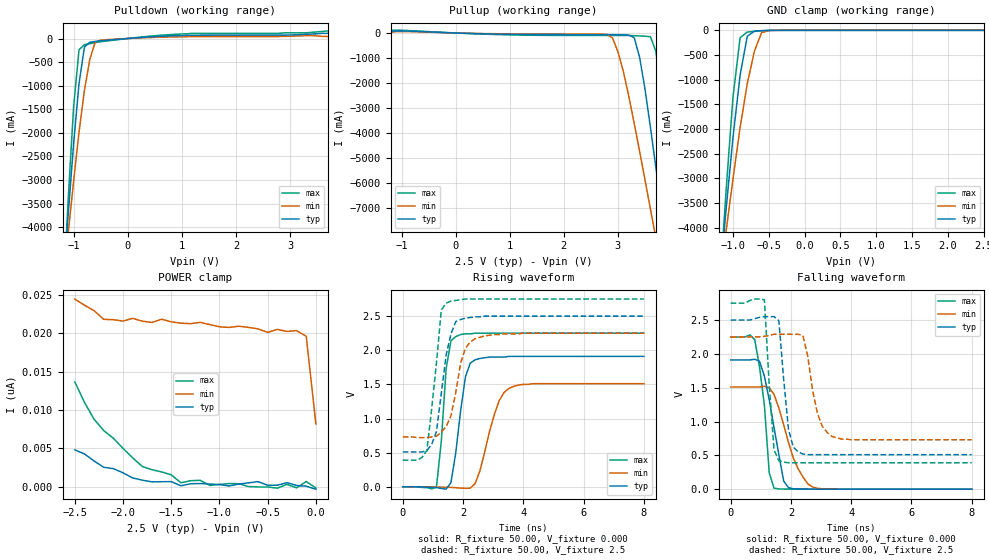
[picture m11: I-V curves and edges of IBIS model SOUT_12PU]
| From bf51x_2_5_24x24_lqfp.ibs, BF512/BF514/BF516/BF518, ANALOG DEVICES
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[Model]   SOUT_12PU
Model_type   I/O
Polarity   Non-Inverting
Enable   Active-Low
Vinl =  0.70V
Vinh =   1.70V
Vmeas =   1.20V
Cref =  50.00pF
Rref =   1.00M
Vref =  0.000V
C_comp   6.07pF   6.03pF   6.09pF
[Temperature Range]   25.00   0.12k   -40.00
[Voltage Range]   2.5V   2.25V   2.75V
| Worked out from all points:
|   slope of the pulldown table from 0 to 0.375 V, typ, clamps not added: 12.1 ohm
|   slope of the pullup table from 0 to 0.375 V, typ, clamps not added: 14.4 ohm
|   GND clamp passes 1 mA (typ) near -0.47 V on its own axis
|   rising waveform, R_fixture 50.00, V_fixture 0.000: 20-80 % time 337ps typ, 557ps min, 239ps max; typ from 0 V to 1.91 V
|   rising waveform, R_fixture 50.00, V_fixture 2.5: 20-80 % time 381ps typ, 425ps min, 328ps max; typ from 0.51 V to 2.5 V
|   falling waveform, R_fixture 50.00, V_fixture 0.000: 20-80 % time 468ps typ, 644ps min, 286ps max; typ from 1.91 V to 0 V
|   falling waveform, R_fixture 50.00, V_fixture 2.5: 20-80 % time 243ps typ, 388ps min, 207ps max; typ from 2.5 V to 0.51 V
[Pulldown]
| voltage   I(typ)   I(min)   I(max)
-2.5V     -27.05A    -20.61A    -35.82A
-1.2V     -5.33A     -5.27A     -5.6A
-1.1V     -3.74A     -4.13A     -3.42A
-1V       -2.23A     -3.03A     -1.45A
-900mV    -960mA     -1.99A     -240mA
-800mV    -180mA     -1.1A      -130mA
-700mV    -78.96mA   -440mA     -110mA
-600mV    -62.11mA   -77.61mA   -85.59mA
-400mV    -38.78mA   -24.85mA   -54.18mA
1.2V      68.26mA    38.77mA    110mA
4V        78.89mA    42.48mA    180mA
5V        81.93mA    46.21mA    130mA
[Pullup]
| voltage   I(typ)   I(min)   I(max)
-2.5V     2.08mA     1.17mA     3.31mA
2.8V      -66.22mA   -56.14mA   -100mA
3V        -67.81mA   -760mA     -100mA
3.3V      -190mA     -3.61A     -110mA
3.4V      -970mA     -4.73A     -120mA
3.6V      -3.77A     -7.04A     -150mA
3.7V      -5.37A     -8.2A      -720mA
3.8V      -7A        -9.38A     -2.41A
3.9V      -8.65A     -10.56A    -4.53A
4V        -10.31A    -11.74A    -6.77A
4.1V      -11.98A    -12.92A    -9.05A
5V        -27.12A    -23.64A    -30.06A
[GND_clamp]
| voltage   I(typ)   I(min)   I(max)
-2.5V     -27.05A    -20.61A    -35.82A
-1.2V     -5.3A      -5.26A     -5.54A
-1.1V     -3.7A      -4.12A     -3.34A
-1V       -2.18A     -3.02A     -1.36A
-900mV    -910mA     -1.97A     -150mA
-800mV    -120mA     -1.08A     -34.78mA
-700mV    -16.72mA   -420mA     -20.13mA
-600mV    -6.07mA    -46.98mA   -8.68mA
-500mV    -1.31mA    -4.79mA    -1.8mA
2.5V      -290pA     20.55nA    -46.63pA
[POWER_clamp]
| voltage   I(typ)   I(min)   I(max)
-2.5V     4.82nA     24.42nA    13.66nA
-2.3V     3.37nA     22.91nA    8.79nA
-2.2V     2.55nA     21.78nA    7.32nA
-1.8V     880pA      21.55nA    2.66nA
-1.5V     690pA      21.46nA    1.58nA
-1.4V     150pA      21.29nA    540pA
-1.2V     440pA      21.39nA    860pA
-1.1V     380pA      21.1nA     190pA
-600mV    690pA      20.55nA    -3.96pA
-200mV    190pA      20.32nA    -120pA
-100mV    94.72pA    19.58nA    700pA
0V        -290pA     8.21nA     -130pA
[Ramp]
| variable   typ   min   max
dV/dt_r   1.16/0.32n   0.92/0.55n   1.38/0.22n
dV/dt_f   1.23/0.23n   0.94/0.39n   1.45/0.15n
R_load = 50.00
[Rising Waveform]
R_fixture = 50.00
V_fixture = 0.000
V_fixture_min = 0.000
V_fixture_max = 0.000
L_fixture = 0.000H
C_fixture = 0.000F
| time   V(typ)   V(min)   V(max)
0s        0V         0V         0V
1.12ns    -13.01mV   -3.62mV    -4.99mV
1.28ns    -24.79mV   -7.19mV    670mV
1.44ns    -35.37mV   -8.12mV    1.73V
1.76ns    500mV      -13.72mV   2.2V
2.08ns    1.61V      -23.45mV   2.24V
2.4ns     1.86V      45.19mV    2.25V
3.2ns     1.9V       1.26V      2.25V
3.52ns    1.91V      1.44V      2.25V
8ns       1.91V      1.51V      2.25V
[Rising Waveform]
R_fixture = 50.00
V_fixture = 2.5
V_fixture_min = 2.25
V_fixture_max = 2.75
L_fixture = 0.000H
C_fixture = 0.000F
| time   V(typ)   V(min)   V(max)
0s        510mV      730mV      390mV
800ps     530mV      720mV      530mV
1.12ns    810mV      740mV      1.82V
1.28ns    1.37V      800mV      2.59V
1.44ns    1.93V      880mV      2.69V
1.76ns    2.42V      1.38V      2.73V
1.92ns    2.45V      1.81V      2.74V
2.08ns    2.47V      2.03V      2.75V
2.4ns     2.49V      2.17V      2.75V
8ns       2.5V       2.25V      2.75V
[Falling Waveform]
R_fixture = 50.00
V_fixture = 0.000
V_fixture_min = 0.000
V_fixture_max = 0.000
L_fixture = 0.000H
C_fixture = 0.000F
| time   V(typ)   V(min)   V(max)
0s        1.91V      1.51V      2.25V
800ps     1.92V      1.51V      2.21V
960ps     1.89V      1.51V      1.8V
1.12ns    1.67V      1.52V      1.24V
1.28ns    1.32V      1.5V       240mV
1.44ns    910mV      1.4V       15.08mV
1.76ns    120mV      950mV      1.61mV
2.24ns    2.58mV     300mV      68.04uV
2.72ns    310uV      31.08mV    400nV
8ns       350nV      1.03uV     0V
[Falling Waveform]
R_fixture = 50.00
V_fixture = 2.5
V_fixture_min = 2.25
V_fixture_max = 2.75
L_fixture = 0.000H
C_fixture = 0.000F
| time   V(typ)   V(min)   V(max)
0s        2.5V       2.25V      2.75V
1.12ns    2.55V      2.26V      2.8V
1.44ns    2.55V      2.29V      580mV
1.6ns     2.49V      2.29V      420mV
1.92ns    880mV      2.29V      390mV
2.24ns    550mV      2.29V      390mV
2.4ns     520mV      2.27V      390mV
2.88ns    510mV      1.12V      390mV
3.36ns    510mV      780mV      390mV
8ns       510mV      730mV      390mV
